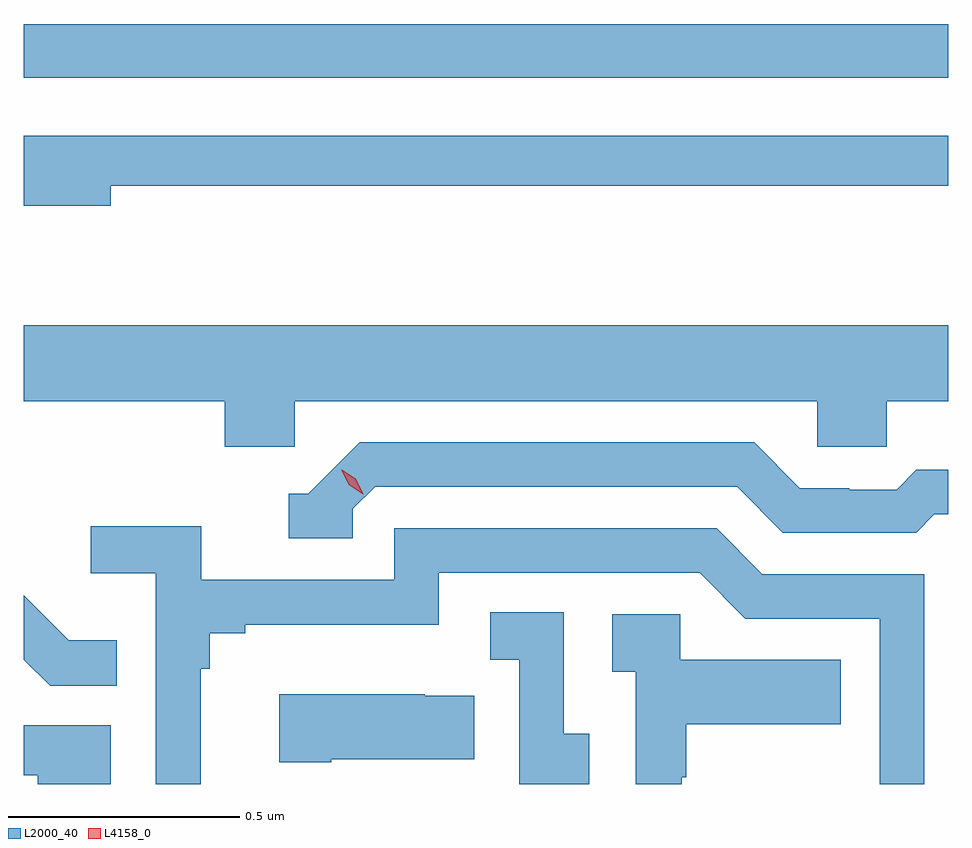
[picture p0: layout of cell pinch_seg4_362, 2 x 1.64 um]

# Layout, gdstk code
import gdstk
lib = gdstk.Library(unit=1e-6, precision=1e-09)
def R(c, l, rs):  # rectangles x0, y0, x1, y1
    for r in rs: c.add(gdstk.rectangle(r[:2], r[2:], *l))
def P(c, l, *ps):  # polygons
    for p in ps: c.add(gdstk.Polygon(p, *l))
L2000_40 = (2000, 40)
L4158_0 = (4158, 0)

pinch_seg4_362 = lib.new_cell('pinch_seg4_362')
R(pinch_seg4_362, L2000_40, [(994.706,794.856,996.706,794.972)])
P(pinch_seg4_362, L2000_40, [(994.894,794.622),(996.706,794.622),(996.706,794.73),(994.706,794.73),(994.706,794.579),(994.894,794.579)],
  [(995.292,794.156),(996.423,794.156),(996.423,794.058),(996.573,794.058),(996.573,794.156),(996.706,794.156),(996.706,794.32),(994.706,794.32),(994.706,794.156),(995.141,794.156),(995.141,794.058),(995.292,794.058)],
  [(995.418,793.923),(995.466,793.971),(996.249,793.971),(996.348,793.872),(996.637,793.872),(996.676,793.911),(996.706,793.911),(996.706,794.008),(996.637,794.008),(996.595,793.965),(996.492,793.965),(996.492,793.968),(996.385,793.968),(996.286,794.067),(995.433,794.067),(995.322,793.956),(995.279,793.956),(995.279,793.86),(995.418,793.86)],
  [(995.089,793.577),(995.108,793.577),(995.108,793.654),(995.185,793.654),(995.185,793.673),(995.604,793.673),(995.604,793.785),(996.168,793.785),(996.267,793.686),(996.558,793.686),(996.558,793.328),(996.654,793.328),(996.654,793.782),(996.304,793.782),(996.205,793.881),(995.508,793.881),(995.508,793.77),(995.09,793.77),(995.09,793.886),(994.851,793.886),(994.851,793.784),(994.992,793.784),(994.992,793.328),(995.089,793.328)],
  [(994.907,793.639),(994.803,793.639),(994.706,793.736),(994.706,793.597),(994.763,793.54),(994.907,793.54)],
  [(995.929,793.437),(995.874,793.437),(995.874,793.7),(995.715,793.7),(995.715,793.597),(995.778,793.597),(995.778,793.328),(995.929,793.328)],
  [(996.129,793.343),(996.139,793.343),(996.139,793.457),(996.473,793.457),(996.473,793.597),(996.126,793.597),(996.126,793.695),(995.979,793.695),(995.979,793.571),(996.03,793.571),(996.03,793.328),(996.129,793.328)],
  [(995.371,793.382),(995.681,793.382),(995.681,793.519),(995.573,793.519),(995.573,793.522),(995.259,793.522),(995.259,793.375),(995.371,793.375)],
  [(994.894,793.455),(994.706,793.455),(994.706,793.347),(994.736,793.347),(994.736,793.328),(994.894,793.328)])
P(pinch_seg4_362, L4158_0, [(995.44,793.955),(995.409,793.975),(995.393,794.008),(995.393,794.008),(995.394,794.008),(995.424,793.988),(995.44,793.956),(995.44,793.955)])

lib.write_gds('pinch_seg4_362.gds')
